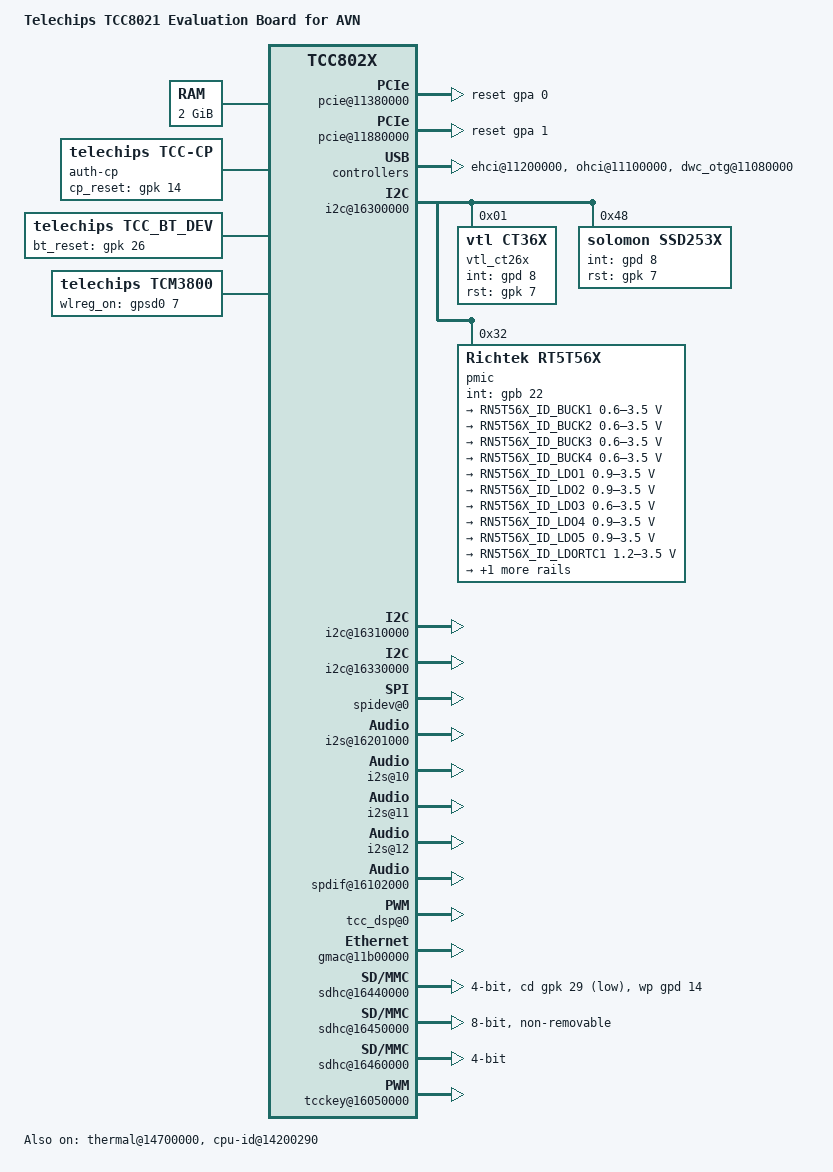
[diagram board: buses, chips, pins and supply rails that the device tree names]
/*
 * Device tree for Telechips TCC8021 board
 *
 * Copyright (C) 2016 Telechips Inc. - http://www.telechips.com
 *
 * This file is dual-licensed: you can use it either under the terms
 * of the GPL or the X11 license, at your option. Note that this dual
 * licensing only applies to this file, and not this project as a
 * whole.
 *
 *  a) This file is free software; you can redistribute it and/or
 *     modify it under the terms of the GNU General Public License as
 *     published by the Free Software Foundation; either version 2 of the
 *     License, or (at your option) any later version.
 *
 *     This file is distributed in the hope that it will be useful,
 *     but WITHOUT ANY WARRANTY; without even the implied warranty of
 *     MERCHANTABILITY or FITNESS FOR A PARTICULAR PURPOSE.  See the
 *     GNU General Public License for more details.
 *
 * Or, alternatively,
 *
 *  b) Permission is hereby granted, free of charge, to any person
 *     obtaining a copy of this software and associated documentation
 *     files (the "Software"), to deal in the Software without
 *     restriction, including without limitation the rights to use,
 *     copy, modify, merge, publish, distribute, sublicense, and/or
 *     sell copies of the Software, and to permit persons to whom the
 *     Software is furnished to do so, subject to the following
 *     conditions:
 *
 *     The above copyright notice and this permission notice shall be
 *     included in all copies or substantial portions of the Software.
 *
 *     THE SOFTWARE IS PROVIDED "AS IS", WITHOUT WARRANTY OF ANY KIND,
 *     EXPRESS OR IMPLIED, INCLUDING BUT NOT LIMITED TO THE WARRANTIES
 *     OF MERCHANTABILITY, FITNESS FOR A PARTICULAR PURPOSE AND
 *     NONINFRINGEMENT. IN NO EVENT SHALL THE AUTHORS OR COPYRIGHT
 *     HOLDERS BE LIABLE FOR ANY CLAIM, DAMAGES OR OTHER LIABILITY,
 *     WHETHER IN AN ACTION OF CONTRACT, TORT OR OTHERWISE, ARISING
 *     FROM, OUT OF OR IN CONNECTION WITH THE SOFTWARE OR THE USE OR
 *     OTHER DEALINGS IN THE SOFTWARE.
 */

#include "tcc8021.dtsi"
#include "tcc802x-linux.dtsi"

/ {
	model = "Telechips TCC8021 Evaluation Board for AVN";
	compatible = "telechips,tcc8021", "telechips,tcc802x";

	chosen {
		bootargs = "vmalloc=480M console=ttyAMA0,115200n8";
		stdout-path = &uart0;
	};

	memory@20000000 {
		device_type = "memory";
		reg = <0x20000000 0x80000000>;
	};

	pcie@11380000 {
		reset-gpio = <&gpa 0 0>;
		status = "okay";
	};

	pcie@11880000 {
		reset-gpio = <&gpa 1 0>;
		status = "okay";
	};

/*
	nand@16400000 {
		compatible = "telechips,nand-v8";
		status = "okay";
		pinctrl-names = "default";
		pinctrl-0 = <&nand_rdy &nand_cs0
			     &nand_we &nand_oe &nand_cle &nand_ale
			     &nand_wp &nand_databus8>;
	};
*/

	/* USB 2.0 OTG */

	ehci_phy@119a0010{
		status = "okay";
		vbus-ctrl-able;
		vbus-gpio = <&gpk 10 0>;
	};

	ehci@11200000 {
		status = "okay";
		hcd_id = <0>;
		phy-type = <1>;	    //pico phy = 1, nano phy = 0
		vbus-ctrl-able;
		vbus-gpio = <&gpk 10 0>;

		//sq_level_ctl;
		TXVRT = <0xB>;
		TXRISET = <0x3>;
		TXAT = <0x1>;
	};

	ohci@11100000 {
		status = "okay";
		vbus-ctrl-able;
		vbus-gpio = <&gpk 10 0>;
	};

	dwc_otg_phy@119A0100 {
		status = "okay";

		vbus-ctrl-able;
		vbus-gpio = <&gpk 9 0>;
	};

	mux_host_phy@119A00DC {
		status = "okay";

		vbus-ctrl-able;
		vbus-gpio = <&gpk 9 0>;
	};

	dwc_otg@11080000 {
	    status = "okay";
	    phy-type = <1>;     //pico phy = 1, nano phy = 0

	    vbus-ctrl-able;
	    vbus-gpio = <&gpk 9 0>;
	};
	thermal@14700000 {
		compatible = "telechips,tcc-thermal";
		reg = <0x14700000 0x4 0x14700030 0x4 0x14200290 0x4 0x1420029C 0x4>;
		status = "okay";

		throttle_count = <5>;
		throttle_active_count = <0>;
		throttle_passive_count = <5>;

		cal_type = "TYPE_ONE_POINT_TRIMMING";
		polling-delay-idle = <0>;
		polling-delay-passive = <0>;

		throttle_table {
			throttle_tab_0 {
				temp = <75>;
				freq_max_cluster0 = <1000000>;
				freq_max_cluster1 = <900000>;
			};
			throttle_tab_1 {
				temp = <80>;
				freq_max_cluster0 = <900000>;
				freq_max_cluster1 = <810000>;
			};
			throttle_tab_2 {
				temp = <85>;
				freq_max_cluster0 = <800000>;
				freq_max_cluster1 = <720000>;
			};
			throttle_tab_3 {
				temp = <90>;
				freq_max_cluster0 = <700000>;
				freq_max_cluster1 = <630000>;
			};
			throttle_tab_4 {
				temp = <95>;
				freq_max_cluster0 = <600000>;
				freq_max_cluster1 = <540000>;
			};
		};
	};

	cpu-id@14200290{
		compatible = "telechips,tcc-cpu-id";
		reg = <0x14200290 0x4 0x14200298 0x4 0x1420029C 0x4 0x14400014 0x4>;
		status = "okay";
	};

	overlaymixer:overlaymixer@1A100000 {
		status ="okay";
		contiguousSize = <0x1000000>;  /* 16MB (if > 512MB RAM) refer to Guide 27 Page */
		baseAddress = <0x20000000>;
		physSize = <0x80000000>; /*  DRAM size (0x40000000 = 1GB, 0x80000000 = 2GB) */
		};

	i2c@16300000 {
		status = "okay";
		port-mux = <77 78>; /* [0]SCL [1]SDA */
		pinctrl-names = "default";
		pinctrl-0 = <&i2c2_bus>;
		vtl_ct26x@01 {
			compatible = "vtl,ct36x";
		    reg = <0x01>;
		    pinctrl-names = "default";
		    pinctrl-0 = <&tsc_default>;
		    int-gpios = <&gpd 8 0>;
		    rst-gpios = <&gpk 7 0>;
		};
		ssd253x@48 {
			compatible = "solomon,ssd253x";
			reg = <0x48>;
			pinctrl-names = "default";
			pinctrl-0 = <&tsc_default>;
			int-gpios = <&gpd 8 0>;
			rst-gpios = <&gpk 7 0>;
		};
		pmic: rt5t56x@32 {
			compatible = "Richtek,rt5t56x";
			reg = <0x32>;
			int-gpios = <&gpb 22 0>; /*<&gpf 16 0> */

			onkey {
				compatible = "Richtek,rn5t56x-onkey";
				Richtek,disable-key-power;
			};
			
			regulators {
				RN5T56X_ID_BUCK1: buck1 {
					regulator-name = "VCORE";
					regulator-min-microvolt = <600000>;
					regulator-max-microvolt = <3500000>;
					//regulator-max-microamp = <3000000>;
					regulator-always-on;
				};
				RN5T56X_ID_BUCK2: buck2 {
					regulator-name = "VMEMQ";
					regulator-min-microvolt = <600000>;
					regulator-max-microvolt = <3500000>;
					//regulator-max-microamp = <3000000>;
					regulator-always-on;
				};
				RN5T56X_ID_BUCK3: buck3 {
					regulator-name = "VCPU";
					regulator-min-microvolt = <600000>;
					regulator-max-microvolt = <3500000>;
					//regulator-max-microamp = <2000000>;
					regulator-always-on;
				};
				RN5T56X_ID_BUCK4: buck4 {
					regulator-name = "VIO3V3";
					regulator-min-microvolt = <600000>;
					regulator-max-microvolt = <3500000>;
					regulator-max-microamp = <2000000>;
					regulator-always-on;
				};
				RN5T56X_ID_LDO1: ldo1 {
					regulator-name = "VIO1V2";
					regulator-min-microvolt = <900000>;
					regulator-max-microvolt = <3500000>;
					regulator-max-microamp = <300000>;
					regulator-always-on;
				};
				RN5T56X_ID_LDO2: ldo2 {
					regulator-name = "VIO1V8";
					regulator-min-microvolt = <900000>;
					regulator-max-microvolt = <3500000>;
					regulator-max-microamp = <300000>;
					regulator-always-on;
				};
				RN5T56X_ID_LDO3: ldo3 {
					regulator-name = "VIO3V3_1V8";
					regulator-min-microvolt = <600000>;
					regulator-max-microvolt = <3500000>;
					//regulator-max-microamp = <300000>;
					regulator-always-on;
				};
				RN5T56X_ID_LDO4: ldo4 {
					regulator-name = "VDD33D_PERI0";
					regulator-min-microvolt = <900000>;
					regulator-max-microvolt = <3500000>;
					//regulator-max-microamp = <200000>;
					regulator-always-on;
				};
				RN5T56X_ID_LDO5: ldo5 {
					regulator-name = "VDD33D_PERI5";
					regulator-min-microvolt = <900000>;
					regulator-max-microvolt = <3500000>;
					//regulator-max-microamp = <200000>;
					regulator-always-on;
				};
				RN5T56X_ID_LDORTC1: ldortc1 {
					regulator-name = "vdd_reserve1";
					regulator-min-microvolt = <1200000>;
					regulator-max-microvolt = <3500000>;
					//regulator-max-microamp = <30000>;
					regulator-always-on;
				};
				RN5T56X_ID_LDORTC2: ldortc2 {
					regulator-name = "vdd_reserve2";
					regulator-min-microvolt = <900000>;
					regulator-max-microvolt = <3500000>;
					//regulator-max-microamp = <10000>;
					regulator-always-on;
				};
			};
		};

	};

	i2c@16310000 {
		status = "okay";
		port-mux = <79 80>; /* [0]SCL [1]SDA */
		pinctrl-names = "default";
		pinctrl-0 = <&i2c3_bus>;
	};

	i2c@16320000 {
		status = "disabled";
		port-mux = <113 114>; /* [0]SCL [1]SDA */
		pinctrl-names = "default";
		pinctrl-0 = <&i2c4_bus>;

		ak4601: ak4601@10 {
			compatible = "akm,ak4601";
			//ak4601,pdn-gpio = <&gpe 4 1>;
			reg = <0x10>;
		};

	};

	i2c@16330000 {
		status = "okay";
		port-mux = <149 150>; /* [0]SCL [1]SDA */
		pinctrl-names = "default";
		pinctrl-0 = <&i2c5_bus>;
	};

	gpsb0@16900000 {
		status = "okay";
		gpsb-port = <102 99 101 100>;	/* [0]SDI [1]SCLK [2]SFRM [3]SDO */
		pinctrl-names = "idle", "active";
		pinctrl-0 = <&gpsb0_bus>;
		pinctrl-1 = <&gpsb0_bus>;

		#address-cells = <1>;
		#size-cells = <0>;
		spidev@0 {
			compatible = "rohm,dh2228fv";
			reg = <0>;
			spi-max-frequency = <2000000>;
		};

	};

	gpsb1@16910000 {
		status = "okay";
		gpsb-port = <106 103 105 104>;	/* [0]SDI [1]SCLK [2]SFRM [3]SDO */
		pinctrl-names = "idle", "active";
		pinctrl-0 = <&gpsb1_bus>;
		pinctrl-1 = <&gpsb1_bus>;
	};

	gpsb2@16920000 {
		status = "okay";
		gpsb-port = <20 17 18 19>;	/* [0]SDI [1]SCLK [2]SFRM [3]SDO */
		pinctrl-names = "idle", "active";
		pinctrl-0 = <&gpsb2_bus>;
		pinctrl-1 = <&gpsb2_bus>;
	};

/*
	i2s@16701000 {
		compatible = "telechips,sdr";
		pinctrl-names = "default", "1port", "2port", "4port";
		pinctrl-0 = <>;
		pinctrl-1 = <&mi2s0_clks &mi2s0_d0>;
		pinctrl-2 = <&mi2s0_clks &mi2s0_d0 &mi2s0_d1>;
		pinctrl-3 = <&mi2s0_clks &mi2s0_d0 &mi2s0_d1 &mi2s0_d2 &mi2s0_d3>;
		ports_num = <1>; // 1,2,4
		clk-mux = /bits/ 8 <255 107 108>; // MCLK BCLK LRCK 
		dain-mux = /bits/ 8 <109 110 111 112>; // DAI0 DAI1 DAI2 DAI3
		status = "okay";
	};
*/

	i2s@16101000 {
		//pinctrl-names = "default";
		//pinctrl-0 = <&mi2s1_clks &mi2s1_d0 &mi2s1_d1>;
		clock-frequency = <49152000>;   // 48000*1024
		clk-mux = /bits/ 8 <163 164 165>; // MCLK BCLK LRCK
		daout-mux = /bits/ 8 <166 167>; // DAO0 DAO1 DAO2 DAO3
		dain-mux = /bits/ 8 <168>; // DAI0 DAI1 DAI2 DAI3
		status = "disabled";
	};

	i2s@16201000 {
		//pinctrl-names = "default";
		//pinctrl-0 = <&bti2s_clks &bti2s_d0>;
		clock-frequency = <49152000>;   // 48000*1024
		clk-mux = /bits/ 8 <255 175 176>; // MCLK BCLK LRCK
		daout-mux = /bits/ 8 <177>; // DAO0 DAO1 DAO2 DAO3
		dain-mux = /bits/ 8 <178>; // DAI0 DAI1 DAI2 DAI3
		status = "okay";
	};

	i2s@10 {
		status = "okay";
	};

	i2s@11 {
		status = "okay";
	};

	i2s@12 {
		status = "okay";
	};

	spdif@16102000 {
		//pinctrl-names = "default";
		//pinctrl-0 = <&mdai0_spdif_tx>;
		port-mux = /bits/ 8 <157 158>; /* TX RX */
		status = "okay";
	};
					/*TX RX*/

	dummy: dummy@0 {
		compatible = "telechips,dummy";
	};

	sound@1 {
		compatible = "telechips,snd-tcc8021-evm";
		telechips,model = "TCC Audio Card";

		telechips,dai-controller = <&i2s1 &spdif0>;
		telechips,audio-codec = <&dummy &dummy>;
		status="okay";
	};

	sound@2 {
		compatible = "telechips,snd-dsp";
		telechips,model = "TCC Audio Card";

		telechips,dai-controller = <&i2s10 &i2s11 &i2s12>;
		telechips,audio-codec = <&dummy &dummy &dummy>;
		status="okay";
	};

	tcc_dsp@0 {
		status="okay";
	};

	gmac@11b00000 {
		status = "okay";
//		phyon-gpio	= <&gpc 27 0>;
		phyrst-gpio = <&gpc 29 0>;
		phy-interface = "rgmii";
		ecid-mac-addr;
		txclk-o-dly = <31>;
		txclk-o-inv = <0>;
		txclk-i-dly = <0>;
		txclk-i-inv = <0>;
		txen-dly = <0>;
		txer-dly = <0>;
		txd0-dly = <0>;
		txd1-dly = <0>;
		txd2-dly = <0>;
		txd3-dly = <0>;
		txd4-dly = <0>;
		txd5-dly = <0>;
		txd6-dly = <0>;
		txd7-dly = <0>;
		rxclk-i-dly = <0>;
		rxclk-i-inv = <0>;
		rxdv-dly = <0>;
		rxer-dly = <0>;
		rxd0-dly = <0>;
		rxd1-dly = <0>;
		rxd2-dly = <0>;
		rxd3-dly = <0>;
		rxd4-dly = <0>;
		rxd5-dly = <0>;
		rxd6-dly = <0>;
		rxd7-dly = <0>;
		crs-dly = <0>;
		col-dly = <0>;
		pinctrl-names = "default", "mii", "rmii", "gmii", "rgmii";
		pinctrl-0 = <>;
		pinctrl-1 = <&gmac1_mdc &gmac1_mdio &gmac1_col &gmac1_crs &gmac1_txer &gmac1_rxer
					 &gmac1_txclk &gmac1_txen &gmac1_txd0 &gmac1_txd1 &gmac1_txd2 &gmac1_txd3
					 &gmac1_rxclk &gmac1_rxdv &gmac1_rxd0 &gmac1_rxd1 &gmac1_rxd2 &gmac1_rxd3>;
		pinctrl-2 = <&gmac1_mdc &gmac1_mdio
					 &gmac1_txclk &gmac1_txen &gmac1_txd0 &gmac1_txd1
					 &gmac1_rxer &gmac1_rxdv &gmac1_rxd0 &gmac1_rxd1>;
		pinctrl-3 = <&gmac1_mdc &gmac1_mdio &gmac1_col &gmac1_crs &gmac1_txer &gmac1_rxer
					 &gmac1_txclk &gmac1_txen &gmac1_txd0 &gmac1_txd1 &gmac1_txd2 &gmac1_txd3
					 &gmac1_txd4 &gmac1_txd5 &gmac1_txd6 &gmac1_txd7
					 &gmac1_rxclk &gmac1_rxdv &gmac1_rxd0 &gmac1_rxd1 &gmac1_rxd2 &gmac1_rxd3
					 &gmac1_rxd4 &gmac1_rxd5 &gmac1_rxd6 &gmac1_rxd7>;
		pinctrl-4 = <&gmac1_mdc &gmac1_mdio 
					 &gmac1_txclk &gmac1_txen &gmac1_txd0 &gmac1_txd1 &gmac1_txd2 &gmac1_txd3 
					 &gmac1_rxclk &gmac1_rxdv &gmac1_rxd0 &gmac1_rxd1 &gmac1_rxd2 &gmac1_rxd3>;
	};

	/* CP */
	auth-cp {
		compatible = "telechips, tcc-cp";
		cp-type = <1>;	    /* 2.0C = 1, 2.0B = 0 */
		i2c-channel = <1>;	/* 0 ~ 3 */
		/*	power-ctrl-able; */
		/* cp_power-gpio = <&gpk 14 0>; */
		cp_reset-gpio = <&gpk 14 0>;
	};

 	sdhc@16440000 { // SD Card
		status = "okay";
		controller-id = <0>;
		bus-width = <4>;
		max-frequency = <200000000>;
		pinctrl-names = "default", "active";
		pinctrl-0 = <&sd0_d_bus4_idle>;
		pinctrl-1 = <&sd0_d_clk &sd0_d_cmd &sd0_d_bus4>;
		cd-inverted;
		//wp-inverted;
		//non-removable;
		//broken-cd;
		keep-power-in-suspend;
		//enable-sdio-wakeup;
		//cap-power-off-card;
		cap-sdio-irq;
		cap2-no-sleep-cmd;
		cap-bus-width-test;

		wp-gpios = <&gpd 14 0>;
		cd-gpios = <&gpk 29 0>;
		//vctrl-gpio = <&gpsd 10 0>;
		pwr-gpio = <&gpk 30 0>;

		//cd-polling;
		//wifi-polling;

		/* High-speed SDR */
		cap-sd-highspeed;
		cap-mmc-highspeed;

		/* High-speed DDR(emmc & SD3.0 DDR50) */
		//cap-1-8V-ddr;
		//cap-uhs-ddr50;

		/* SD3.0 Common */
		//cap-vdd-165-195;

		/* SD3.0 SDR12 */
		//cap-uhs-sdr12;

		/* SD3.0 SDR25 */
		//cap-uhs-sdr25;
		//cap-uhs-driver_type_a;

		/* SD3.0 SDR50 */
		//cap-uhs-sdr50;
		//cap-uhs-driver_type_c;

		/* SD3.0 SDR104 */
		//cap-uhs-sdr104;
		//cap-uhs-driver_type_d;
		//cap-uhs-cmd23;
		//cap-adma;
	};

 	sdhc@16450000 { // eMMC
 		status = "okay";
		controller-id = <1>;
		bus-width = <8>;
		max-frequency = <200000000>;
		pinctrl-names = "default", "active";
		pinctrl-0 = <&sd1_a_bus8_idle>;
		pinctrl-1 = <&sd1_a_clk &sd1_a_cmd &sd1_a_bus8>;
		//cd-inverted;
		//wp-inverted;
		non-removable;
		//broken-cd;
		//keep-power-in-suspend;
		//enable-sdio-wakeup;
		//cap-power-off-card;
		cap-sdio-irq;
		cap2-no-sleep-cmd;
		cap-bus-width-test;

		//wp-gpios = <&gpb 7 0>;
		//cd-gpios = <&gpext1 5 0>;
		//vctrl-gpio = <&gpa 5 0>;
		//pwr-gpio = <&gpext2 7 0>;
		//emmc-rst-gpio = <&gpa 6 0>; // To do : add handling code

		//cd-polling;
		//wifi-polling;

		/* High-speed SDR */
		cap-sd-highspeed;
		cap-mmc-highspeed;

		/* High-speed DDR(emmc & SD3.0 DDR50) */
		cap-1-8V-ddr;
		cap-uhs-ddr50;

		/* emmc hs200 & SD3.0 Common */
		//cap-vdd-165-195;

		/* SD3.0 SDR12 */
		//cap-uhs-sdr12;

		/* SD3.0 SDR25 */
		//cap-uhs-sdr25;
		//cap-uhs-driver_type_a;

		/* SD3.0 SDR50 */
		//cap-uhs-sdr50;
		//cap-uhs-driver_type_c;

		/* SD3.0 SDR104 */
		//cap-uhs-sdr104;
		//cap-uhs-driver_type_d;
		//cap-uhs-cmd23;
		//cap-adma;

		/* eMMC HS200 */
		//mmc-hs200-1_8v;
		//cap-uhs-driver_type_d;
		//cap-uhs-cmd23;
		//cap-adma;
	};

	sdhc@16460000 { // Wi-Fi tcm3800
		status = "okay";
		controller-id = <2>;
		bus-width = <4>;
		max-frequency = <200000000>;
		pinctrl-names = "default", "active";
		pinctrl-0 = <&sd2_gpsd0_bus4_idle>;
		pinctrl-1 = <&sd2_gpsd0_clk &sd2_gpsd0_cmd &sd2_gpsd0_bus4 &out5_clk>;
		clocks = <&clk_peri PERI_SDMMC2 &clk_io IOBUS_SDMMC2 &clk_peri PERI_OUT5>;
		clock-names = "mmc_fclk", "mmc_hclk", "ext32";

		cd-inverted;
		//wp-inverted;
		//non-removable;
		//broken-cd;
		keep-power-in-suspend;
		//enable-sdio-wakeup;
		//cap-power-off-card;
		cap-sdio-irq;
		cap2-no-sleep-cmd;
		cap-bus-width-test;

		//wp-gpios = <&gpb 7 0>;
		//cd-gpios = <&gpext1 5 0>;
		//vctrl-gpio = <&gpsd 10 0>;
		//pwr-gpio = <&gpext2 7 0>;

		wifi-polling;
		ext32-enable; // make_rtc
		cap-adma;

		/* High-speed SDR */
		cap-sd-highspeed;
		cap-mmc-highspeed;
	};

	/* bluetooth */
	tcc_bt_dev {
		compatible = "telechips, tcc_bt_dev";
		bt_reset-gpio = <&gpk 26 0>;
		status = "okay";
	};
	
	tcm3800 {
		compatible = "telechips, tcm3800";
		wlreg_on-gpio = <&gpsd0 7 0>;
	};
	
	tcckey@16050000 {
	    compatible = "telechips,tcckey";
	    status = "okay";
	};

	vout_drv@0 {
		status = "okay";
	};
	smartcard {
		compatible = "telechips,pl131-smartcard";
		reg = <0x16601000 0xFFF 0x16684000 0x10>;                //smartcard #0, 
		clocks = <&clk_io IOBUS_SMARTCARD0>;
		clock-frequency = <50000000>;
		smartcard-clock = <4000000>;                             // initail value 4Mhz
		Fi = <372>;						 // clock rate conversion integer
		Di = <1>;						 // initail value

		uart_ch = <&uart1>;					 // uart and smartcard share clock
		uart_chnum = <1>;
		port-num = <0>;
		tda8024-use = <1>;
		rst_gpios =  <&gpb 16 0>;
		detect_gpios = <&gph 7 0>;
		pwren_gpios = <&gph 10 0>;
		data_gfb = <21>;
		clk_gfb = <22>;
		pinctrl-names = "default";
		pinctrl-0 = <&smartcard_bus>;
		status = "disable";
	};
};
